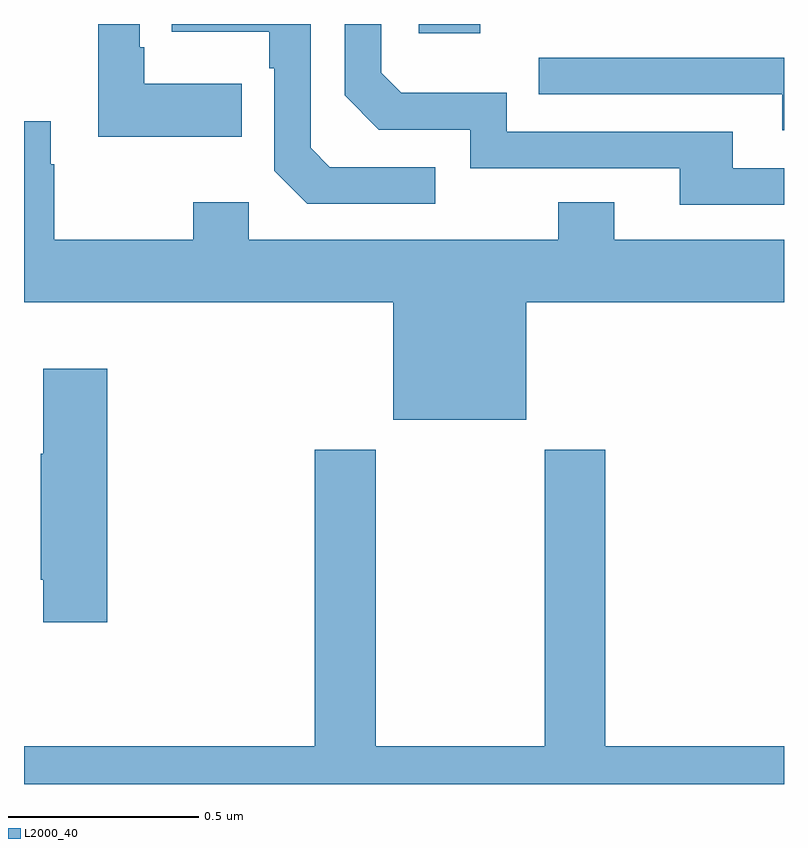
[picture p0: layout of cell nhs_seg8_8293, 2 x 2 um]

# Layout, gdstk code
import gdstk
lib = gdstk.Library(unit=1e-6, precision=1e-09)
def R(c, l, rs):  # rectangles x0, y0, x1, y1
    for r in rs: c.add(gdstk.rectangle(r[:2], r[2:], *l))
def P(c, l, *ps):  # polygons
    for p in ps: c.add(gdstk.Polygon(p, *l))
L2000_40 = (2000, 40)

nhs_seg8_8293 = lib.new_cell('nhs_seg8_8293')
R(nhs_seg8_8293, L2000_40, [(222.039,1115.876,222.2,1115.9)])
P(nhs_seg8_8293, L2000_40, [(223,1115.52),(222.865,1115.52),(222.865,1115.616),(222.27,1115.616),(222.27,1115.719),(221.993,1115.719),(221.94,1115.772),(221.94,1115.9),(221.844,1115.9),(221.844,1115.712),(221.934,1115.622),(222.174,1115.622),(222.174,1115.52),(222.725,1115.52),(222.725,1115.424),(223,1115.424)],
  [(221.573,1115.743),(221.317,1115.743),(221.317,1115.839),(221.304,1115.839),(221.304,1115.9),(221.196,1115.9),(221.196,1115.603),(221.573,1115.603)],
  [(222.082,1115.523),(221.805,1115.523),(221.754,1115.574),(221.754,1115.9),(221.389,1115.9),(221.389,1115.879),(221.646,1115.879),(221.646,1115.783),(221.658,1115.783),(221.658,1115.514),(221.745,1115.427),(222.082,1115.427)],
  [(223,1115.811),(222.355,1115.811),(222.355,1115.715),(222.995,1115.715),(222.995,1115.621),(223,1115.621)],
  [(222.322,1115.168),(223,1115.168),(223,1115.332),(222.553,1115.332),(222.553,1115.431),(222.406,1115.431),(222.406,1115.332),(221.592,1115.332),(221.592,1115.431),(221.446,1115.431),(221.446,1115.332),(221.079,1115.332),(221.079,1115.531),(221.071,1115.531),(221.071,1115.644),(221,1115.644),(221,1115.168),(221.972,1115.168),(221.972,1114.859),(222.322,1114.859)],
  [(221.219,1114.993),(221.051,1114.993),(221.051,1114.769),(221.044,1114.769),(221.044,1114.438),(221.051,1114.438),(221.051,1114.326),(221.219,1114.326)],
  [(222.37,1114.78),(222.37,1114),(221.925,1114),(221.925,1114.78),(221.765,1114.78),(221.765,1114),(221,1114),(221,1113.9),(223,1113.9),(223,1114),(222.53,1114),(222.53,1114.78)])

lib.write_gds('nhs_seg8_8293.gds')
